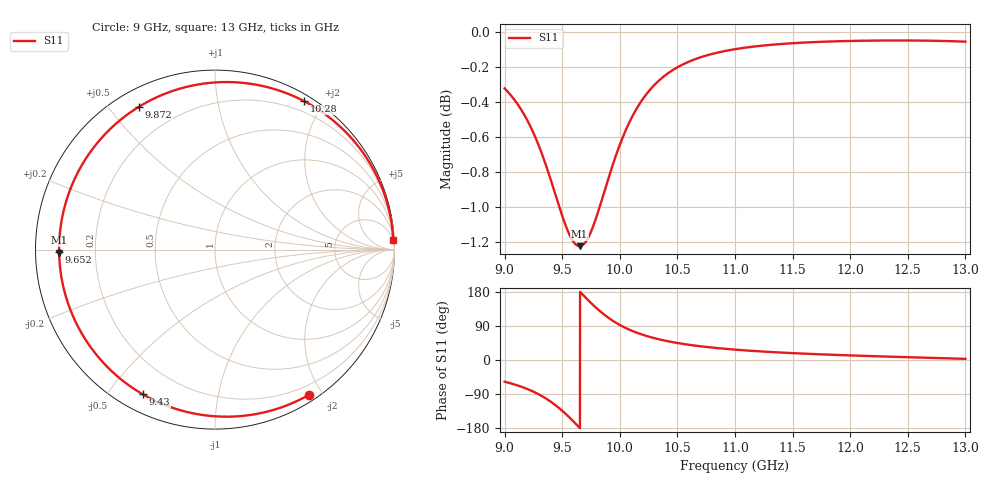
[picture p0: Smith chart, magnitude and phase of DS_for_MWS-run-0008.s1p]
! TOUCHSTONE file generated by CST DESIGN STUDIO
! Date and time: Tue Feb  4 18:31:38 2025
! Project name: C:\Work\MatlabApps\UnitCellOptimizationMatlab\CST\unitcell.cst
! Tree item: Tasks\Sweep1\SPara1\S-Parameters
! Header version: 2024
! Port assignment regex: !\s*Touchstone port\s*([0-9]+)\s*=\s*(CST MWS port|CST DES external port|CST DES block port)\s*(.+)\s* \(\"(.*)\"\)(\s*mode\s*([0-9]+))?.*
! Touchstone port assignment:
! Touchstone port 1 = CST DES external port 1 ("")
# GHz S MA R 50
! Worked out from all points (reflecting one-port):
!   4001 points, 9 GHz to 13 GHz, reference 50 ohm
!   lowest |S11| = -1.2 dB at 9.651 GHz (marker M1), VSWR 14.22, Z = 3.52 - j0.478 ohm
!   phase of S11 starts at -57 deg and turns -300 deg over the sweep
!   S11 on the Smith chart (normalised r, x): 9 GHz: 0.08, -1.83; 9.43 GHz: 0.07, -0.62; 9.652 GHz: 0.07, -0.01; 9.872 GHz: 0.07, +0.60; 10.28 GHz: 0.07, +1.76; 13 GHz: 4, +37
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9  0.9637 -57.3
9.108  0.9543 -66.7
9.217  0.9409 -79.1
9.335  0.9209 -97.2
9.384  0.911 -106.5
9.43  0.9011 -116.5
9.5  0.8862 -133.9
9.581  0.8729 -157.1
9.617  0.8697 -168.2
9.651  0.8686 -178.9
9.652  0.8686 -179.2
9.698  0.8706 166.3
9.746  0.8763 151.7
9.809  0.8879 133.8
9.872  0.9018 118.0
9.933  0.9152 104.8
10  0.9286 92.4
10.067  0.94 82.2
10.134  0.9495 73.6
10.282  0.9645 59.1
10.384  0.9715 51.6
10.5  0.9772 44.9
10.719  0.9841 35.5
11  0.989 27.4
11.5  0.9929 18.1
12  0.9943 12.1
12.5  0.9946 7.3
13  0.9939 3.1
